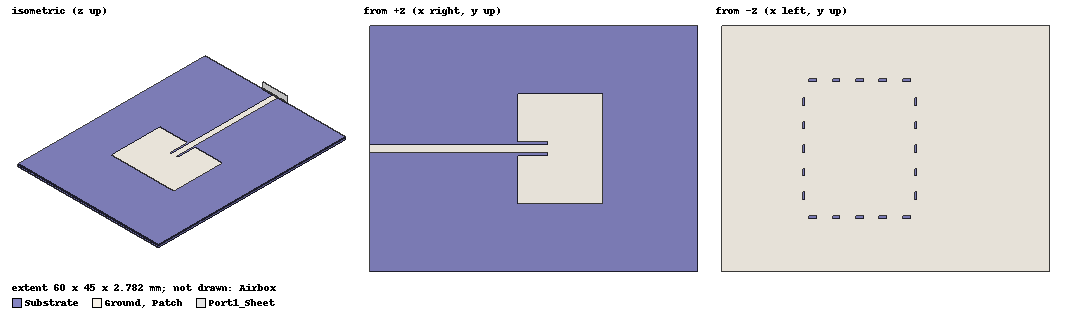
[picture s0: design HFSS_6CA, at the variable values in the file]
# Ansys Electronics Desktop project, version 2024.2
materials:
  vacuum: permittivity=1
  RO4350B: permittivity=3.48 permeability=1 dielectric_loss_tangent=0.0037
  pec: conductivity=1e+30
  air: permittivity=1.0006 permeability=1.0000004

design HFSS_6CA (HFSS, HFSS Terminal Network, model units mm)
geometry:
  Substrate [RO4350B] = box(corner=(-30mm, -22.5mm, 0mm), size=(60mm, 45mm, 0.762mm))
  Ground [pec] = rectangle(corner=(-30mm, -22.5mm, 0mm), x_size=60mm, y_size=45mm)
  Patch [pec] = rectangle(corner=(-2.99995mm, -10.01535mm, 0.762mm), x_size=15.5383mm, y_size=20.0307mm)
  Feed = rectangle(corner=(-30mm, -0.7991mm, 0.762mm), x_size=32.58775mm, y_size=1.5982mm)
  Patch.unite(Feed)
  TopCut_0_inset_gap_top = rectangle(corner=(-2.99995mm, 0.7991mm, 0.762mm), x_size=5.5877mm, y_size=0.4795mm)
  TopCut_1_inset_gap_bottom = rectangle(corner=(-2.99995mm, -1.2786mm, 0.762mm), x_size=5.5877mm, y_size=0.4795mm)
  Patch.subtract(TopCut_0_inset_gap_top, TopCut_1_inset_gap_bottom)
  GroundCut_0_ebg_0 = rectangle(corner=(-4.5304782mm, -12.724822mm, 0mm), x_size=1.4275707mm, y_size=0.41894382mm)
  GroundCut_1_ebg_1 = rectangle(corner=(-0.23753175mm, -12.724822mm, 0mm), x_size=1.4275707mm, y_size=0.41894382mm)
  GroundCut_2_ebg_2 = rectangle(corner=(4.0554147mm, -12.724822mm, 0mm), x_size=1.4275707mm, y_size=0.41894382mm)
  GroundCut_3_ebg_3 = rectangle(corner=(8.3483611mm, -12.724822mm, 0mm), x_size=1.4275707mm, y_size=0.41894382mm)
  GroundCut_4_ebg_4 = rectangle(corner=(12.641308mm, -12.724822mm, 0mm), x_size=1.4275707mm, y_size=0.41894382mm)
  GroundCut_5_ebg_5 = rectangle(corner=(-4.5304782mm, 12.305878mm, 0mm), x_size=1.4275707mm, y_size=0.41894382mm)
  GroundCut_6_ebg_6 = rectangle(corner=(-0.23753175mm, 12.305878mm, 0mm), x_size=1.4275707mm, y_size=0.41894382mm)
  GroundCut_7_ebg_7 = rectangle(corner=(4.0554147mm, 12.305878mm, 0mm), x_size=1.4275707mm, y_size=0.41894382mm)
  GroundCut_8_ebg_8 = rectangle(corner=(8.3483611mm, 12.305878mm, 0mm), x_size=1.4275707mm, y_size=0.41894382mm)
  GroundCut_9_ebg_9 = rectangle(corner=(12.641308mm, 12.305878mm, 0mm), x_size=1.4275707mm, y_size=0.41894382mm)
  GroundCut_10_ebg_10 = rectangle(corner=(-5.7094219mm, -9.2996782mm, 0mm), x_size=0.41894382mm, y_size=1.4275707mm)
  GroundCut_11_ebg_11 = rectangle(corner=(-5.7094219mm, -5.0067318mm, 0mm), x_size=0.41894382mm, y_size=1.4275707mm)
  GroundCut_12_ebg_12 = rectangle(corner=(-5.7094219mm, -0.71378533mm, 0mm), x_size=0.41894382mm, y_size=1.4275707mm)
  GroundCut_13_ebg_13 = rectangle(corner=(-5.7094219mm, 3.5791611mm, 0mm), x_size=0.41894382mm, y_size=1.4275707mm)
  GroundCut_14_ebg_14 = rectangle(corner=(-5.7094219mm, 7.8721075mm, 0mm), x_size=0.41894382mm, y_size=1.4275707mm)
  GroundCut_15_ebg_15 = rectangle(corner=(14.828878mm, -9.2996782mm, 0mm), x_size=0.41894382mm, y_size=1.4275707mm)
  GroundCut_16_ebg_16 = rectangle(corner=(14.828878mm, -5.0067318mm, 0mm), x_size=0.41894382mm, y_size=1.4275707mm)
  GroundCut_17_ebg_17 = rectangle(corner=(14.828878mm, -0.71378533mm, 0mm), x_size=0.41894382mm, y_size=1.4275707mm)
  GroundCut_18_ebg_18 = rectangle(corner=(14.828878mm, 3.5791611mm, 0mm), x_size=0.41894382mm, y_size=1.4275707mm)
  GroundCut_19_ebg_19 = rectangle(corner=(14.828878mm, 7.8721075mm, 0mm), x_size=0.41894382mm, y_size=1.4275707mm)
  Ground.subtract(GroundCut_0_ebg_0, GroundCut_1_ebg_1, GroundCut_2_ebg_2, GroundCut_3_ebg_3, GroundCut_4_ebg_4, GroundCut_5_ebg_5, GroundCut_6_ebg_6, GroundCut_7_ebg_7, GroundCut_8_ebg_8, GroundCut_9_ebg_9, GroundCut_10_ebg_10, GroundCut_11_ebg_11, GroundCut_12_ebg_12, GroundCut_13_ebg_13, GroundCut_14_ebg_14, GroundCut_15_ebg_15, GroundCut_16_ebg_16, GroundCut_17_ebg_17, GroundCut_18_ebg_18, GroundCut_19_ebg_19)
  Airbox [air] = box(corner=(-30mm, -42.5mm, -20mm), size=(80mm, 85mm, 40.762mm))
  Port1_Sheet = rectangle(corner=(-30mm, -3.9955mm, -0.02mm), y_size=7.991mm, z_size=2.782mm)
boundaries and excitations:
  Copper_PEC: Perfect E Objects=[Ground, Patch]
  Radiation: Radiation Objects=Airbox
  Port1: Wave Port Objects=Port1_Sheet WavePortType=Modal NumModes=1 Modes{Mode1{CharImp=Zpi RenormImp=50ohm}}
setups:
  Setup1: HfssDriven Frequency=5GHz MaxDeltaS=0.02 MaximumPasses=10 MinimumPasses=1 MinimumConvergedPasses=1 PercentRefinement=30 BasisOrder=1 PortAccuracy=2 DrivenSolverType="Direct Solver"
    sweep Sweep_4_6GHz: 4GHz to 6GHz, 101 points; Type=Interpolating SaveRadFields InterpTolerance=0.5 InterpMaxSolns=250 InterpUsePortImped=false PassivityErrorTolerance=0.0001
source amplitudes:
  Port1:1: 1V 0deg
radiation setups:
  InfiniteSphere_EH_Cuts: Infinite Sphere Theta=-180deg..180deg step 1deg Phi=-90deg..90deg step 90deg
